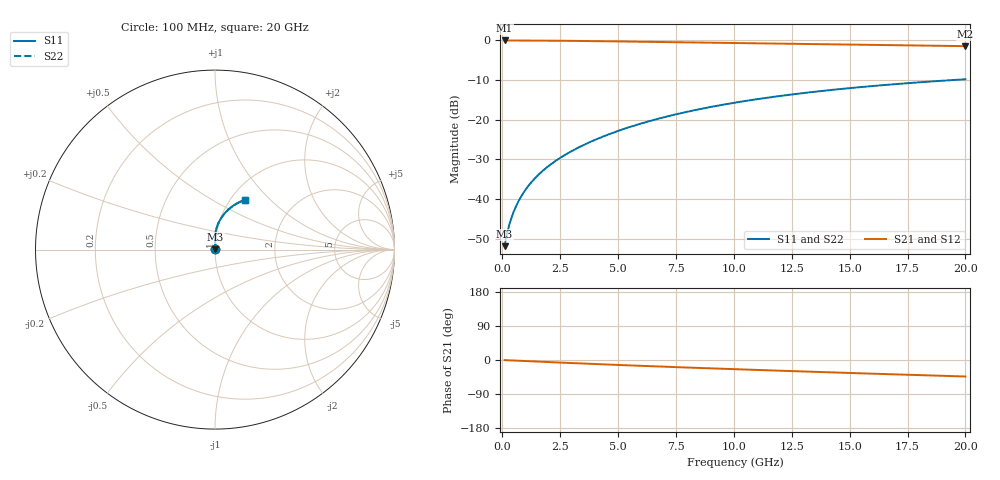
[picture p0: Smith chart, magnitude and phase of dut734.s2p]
! Touchstone file exported from HFSS 2024.1.0
!  File:  C:/UserFiles/LocalFiles/RDL_TSV_Batchsim/temp_RDL_bottom_734_1779859062.aedt
!  Generated:  01:19:46 PM May 27, 2026
!  Design:  RDL_bottom
!  Project:  temp_RDL_bottom_734_1779859062
!  Setup:  Setup1
!  Solution:  Sweep
! Variables:
!  dtsv = 10.80580581um
!  hbump = 3um
!  htsv = 64.75um
!  ldown = 667.53um
!  lrdl = 100um
!  p = 40
!  p1 = 51.71um
!  rhole = 1um
!  t = 450um
!  tdown = 4.67um
!  trdl = 3.915915916um
!  wdown = 27.81um
!  wrdl = 20um
# GHz S MA R 50.000000
! Terminal data exported
! Port[1] = RDL1_T1
! Port[2] = RDL1_T2
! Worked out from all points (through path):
!   200 points, 100 MHz to 20 GHz, reference 50 ohm
!   highest |S21| = -0.02 dB at 100 MHz (marker M1); lowest = -1.5 dB at 20 GHz (marker M2)
!   group delay of S21, straight-line fit = 5.96 ps
!   lowest |S11| = -51.9 dB at 100 MHz (marker M3), VSWR 1.01, Z = 50.2 + j0.152 ohm
!   |S11| at or under -10 dB: start of sweep to 19.45 GHz
!   |S22| runs from -51.9 to -9.8 dB; largest |S21 - S12| = 7.5e-15
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0.1  0.002548 36.4  0.9979 -0.3  0.9979 -0.3  0.002548 36.4
! Gamma 0 0 0 0
! Port Impedance 50 0 50 0
0.2  0.003624 52.1  0.9977 -0.6  0.9977 -0.6  0.003624 52.1
0.3  0.004734 60.3  0.9975 -0.8  0.9975 -0.8  0.004735 60.3
0.4  0.00586 65.8  0.9973 -1.1  0.9973 -1.1  0.00586 65.8
0.5  0.00701 69.8  0.9971 -1.4  0.9971 -1.4  0.007011 69.8
0.6  0.008185 72.8  0.997 -1.7  0.997 -1.7  0.008186 72.8
0.8  0.0106 77.1  0.9965 -2.2  0.9965 -2.2  0.0106 77.1
1.1  0.01433 81.1  0.9957 -3.0  0.9957 -3.0  0.01433 81.1
1.3  0.01687 82.9  0.9951 -3.6  0.9951 -3.6  0.01687 82.9
1.6  0.02077 84.9  0.9939 -4.4  0.9939 -4.4  0.02077 84.9
2.1  0.02748 87.1  0.9916 -5.7  0.9916 -5.7  0.02747 87.0
2.7  0.03591 88.7  0.9881 -7.3  0.9881 -7.3  0.0359 88.6
3.5  0.04783 89.7  0.9826 -9.4  0.9826 -9.4  0.0478 89.7
4.2  0.05889 90.0  0.9772 -11.1  0.9772 -11.1  0.05885 89.9
5  0.07221 89.7  0.9705 -13.1  0.9705 -13.1  0.07214 89.6
6.8  0.1041 87.5  0.9548 -17.3  0.9548 -17.3  0.104 87.4
8.4  0.1336 84.4  0.9407 -20.8  0.9407 -20.8  0.1335 84.4
10.1  0.1651 80.7  0.926 -24.4  0.926 -24.4  0.1649 80.7
11.7  0.194 77.0  0.9124 -27.7  0.9124 -27.7  0.1938 77.0
13.4  0.2237 73.1  0.8983 -31.1  0.8983 -31.1  0.2234 73.1
16.7  0.2768 65.8  0.8717 -37.5  0.8717 -37.5  0.2764 65.7
20  0.3236 58.9  0.8461 -43.6  0.8461 -43.6  0.3231 58.8
